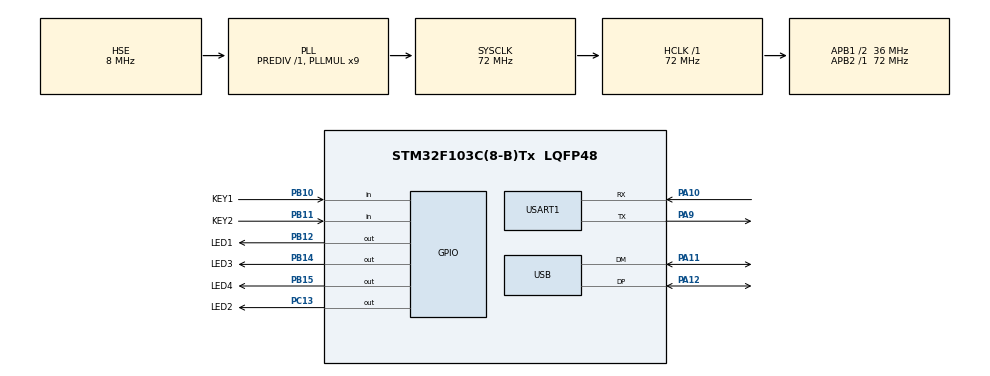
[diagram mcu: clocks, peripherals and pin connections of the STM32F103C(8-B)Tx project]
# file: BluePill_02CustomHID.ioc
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Mcu.Family=STM32F1
Mcu.Name=STM32F103C(8-B)Tx
Mcu.Package=LQFP48
NVIC.PriorityGroup=NVIC_PRIORITYGROUP_4
NVIC.USART1_IRQn=true\:0\:0\:false\:false\:true\:true
NVIC.USB_LP_CAN1_RX0_IRQn=true\:0\:0\:false\:false\:true\:false
PA10.Mode=Asynchronous
PA10.Signal=USART1_RX
PA11.Mode=Device
PA11.Signal=USB_DM
PA12.Mode=Device
PA12.Signal=USB_DP
PA13.Mode=Serial_Wire
PA13.Signal=SYS_JTMS-SWDIO
PA14.Mode=Serial_Wire
PA14.Signal=SYS_JTCK-SWCLK
PA9.Mode=Asynchronous
PA9.Signal=USART1_TX
PB10.GPIO_Label=KEY1
PB10.GPIO_PuPd=GPIO_PULLUP
PB10.Signal=GPIO_Input
PB11.GPIO_Label=KEY2
PB11.GPIO_PuPd=GPIO_PULLUP
PB11.Signal=GPIO_Input
PB12.GPIO_Label=LED1
PB12.Signal=GPIO_Output
PB14.GPIO_Label=LED3
PB14.Signal=GPIO_Output
PB15.GPIO_Label=LED4
PB15.Signal=GPIO_Output
PC13-TAMPER-RTC.GPIO_Label=LED2
PC13-TAMPER-RTC.Signal=GPIO_Output
PD0-OSC_IN.Mode=HSE-External-Oscillator
PD0-OSC_IN.Signal=RCC_OSC_IN
PD1-OSC_OUT.Mode=HSE-External-Oscillator
PD1-OSC_OUT.Signal=RCC_OSC_OUT
ProjectManager.HeapSize=0x200
ProjectManager.StackSize=0x400
ProjectManager.TargetToolchain=Makefile
RCC.AHBFreq_Value=72000000
RCC.APB1CLKDivider=RCC_HCLK_DIV2
RCC.APB1Freq_Value=36000000
RCC.APB1TimFreq_Value=72000000
RCC.APB2Freq_Value=72000000
RCC.APB2TimFreq_Value=72000000
RCC.HCLKFreq_Value=72000000
RCC.PLLMUL=RCC_PLL_MUL9
RCC.SYSCLKFreq_VALUE=72000000
RCC.SYSCLKSource=RCC_SYSCLKSOURCE_PLLCLK
RCC.USBFreq_Value=48000000
RCC.USBPrescaler=RCC_USBCLKSOURCE_PLL_DIV1_5
USART1.VirtualMode=VM_ASYNC
USB_DEVICE.CLASS_NAME_FS=CUSTOMHID
USB_DEVICE.MANUFACTURER_STRING=Ghosoft
USB_DEVICE.PRODUCT_STRING_CUSTOMHID_FS=STM32 Custom Human interface test1
USB_DEVICE.USBD_CUSTOMHID_OUTREPORT_BUF_SIZE=64
USB_DEVICE.USBD_CUSTOM_HID_REPORT_DESC_SIZE=33
USB_DEVICE.VirtualMode=CustomHid
USB_DEVICE.VirtualModeFS=Custom_Hid_FS
VP_USB_DEVICE_VS_USB_DEVICE_CUSTOM_HID_FS.Mode=CUSTOM_HID_FS
board=custom

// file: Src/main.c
/**
  ******************************************************************************
  * @file           : main.c
  * @brief          : Main program body
  ******************************************************************************
  * This notice applies to any and all portions of this file
  * that are not between comment pairs USER CODE BEGIN and
  * USER CODE END. Other portions of this file, whether
  * inserted by the user or by software development tools
  * are owned by their respective copyright owners.
  *
  * Copyright (c) 2020 STMicroelectronics International N.V.
  * All rights reserved.
  *
  * Redistribution and use in source and binary forms, with or without
  * modification, are permitted, provided that the following conditions are met:
  *
  * 1. Redistribution of source code must retain the above copyright notice,
  *    this list of conditions and the following disclaimer.
  * 2. Redistributions in binary form must reproduce the above copyright notice,
  *    this list of conditions and the following disclaimer in the documentation
  *    and/or other materials provided with the distribution.
  * 3. Neither the name of STMicroelectronics nor the names of other
  *    contributors to this software may be used to endorse or promote products
  *    derived from this software without specific written permission.
  * 4. This software, including modifications and/or derivative works of this
  *    software, must execute solely and exclusively on microcontroller or
  *    microprocessor devices manufactured by or for STMicroelectronics.
  * 5. Redistribution and use of this software other than as permitted under
  *    this license is void and will automatically terminate your rights under
  *    this license.
  *
  * THIS SOFTWARE IS PROVIDED BY STMICROELECTRONICS AND CONTRIBUTORS "AS IS"
  * AND ANY EXPRESS, IMPLIED OR STATUTORY WARRANTIES, INCLUDING, BUT NOT
  * LIMITED TO, THE IMPLIED WARRANTIES OF MERCHANTABILITY, FITNESS FOR A
  * PARTICULAR PURPOSE AND NON-INFRINGEMENT OF THIRD PARTY INTELLECTUAL PROPERTY
  * RIGHTS ARE DISCLAIMED TO THE FULLEST EXTENT PERMITTED BY LAW. IN NO EVENT
  * SHALL STMICROELECTRONICS OR CONTRIBUTORS BE LIABLE FOR ANY DIRECT, INDIRECT,
  * INCIDENTAL, SPECIAL, EXEMPLARY, OR CONSEQUENTIAL DAMAGES (INCLUDING, BUT NOT
  * LIMITED TO, PROCUREMENT OF SUBSTITUTE GOODS OR SERVICES; LOSS OF USE, DATA,
  * OR PROFITS; OR BUSINESS INTERRUPTION) HOWEVER CAUSED AND ON ANY THEORY OF
  * LIABILITY, WHETHER IN CONTRACT, STRICT LIABILITY, OR TORT (INCLUDING
  * NEGLIGENCE OR OTHERWISE) ARISING IN ANY WAY OUT OF THE USE OF THIS SOFTWARE,
  * EVEN IF ADVISED OF THE POSSIBILITY OF SUCH DAMAGE.
  *
  ******************************************************************************
  */
#include "main.h"
#include "stm32f1xx_hal.h"
#include "usb_device.h"

/* USER CODE BEGIN Includes */
#include <stdio.h>
#include <errno.h>
#include <sys/unistd.h> // STDOUT_FILENO, STDERR_FILENO
/* USER CODE END Includes */

UART_HandleTypeDef huart1;

/* USER CODE BEGIN PV */
/* Private variables ---------------------------------------------------------*/

// mod
extern USBD_HandleTypeDef hUsbDeviceFS;
uint8_t USB_RX_Buffer[64];
uint8_t USB_TX_Buffer[64];
uint8_t UART_RX_Buffer[64];
uint16_t txCounter;
/* USER CODE END PV */

void SystemClock_Config(void);
static void MX_GPIO_Init(void);
static void MX_USART1_UART_Init(void);

/* USER CODE BEGIN PFP */
/* Private function prototypes -----------------------------------------------*/

/* USER CODE END PFP */

/* USER CODE BEGIN 0 */
/*int fputc(int ch, FILE *f)
{
  HAL_UART_Transmit(&huart1, (uint8_t *)&ch, 1, 0xFFFF);
  return ch;
}*/
int _write(int file, char *ptr, int len)
{
  switch (file)
  {
  case STDOUT_FILENO: //stdout
    // Send the string somewhere
    HAL_UART_Transmit(&huart1, (uint8_t *)ptr, len, 100);
    break;
  case STDERR_FILENO: // stderr
    // Send the string somewhere
    break;
  default:
    return -1;
  }
  return len;
}

void printBuffer(uint8_t *buf, uint8_t len)
{
  for (uint8_t i = 0; i < len; i++)
  {
    printf("0x%02X ", buf[i]);
  }
  printf("\r\n");
}

extern uint8_t USBD_CUSTOM_HID_SendReport(USBD_HandleTypeDef *pdev,
                                          uint8_t *report,
                                          uint16_t len);

/* USER CODE END 0 */

int main(void)
{

  /* MCU Configuration----------------------------------------------------------*/

  /* Reset of all peripherals, Initializes the Flash interface and the Systick. */
  HAL_Init();

  /* Configure the system clock */
  SystemClock_Config();

  /* Initialize all configured peripherals */
  MX_GPIO_Init();
  MX_USB_DEVICE_Init();
  MX_USART1_UART_Init();
  /* USER CODE BEGIN 2 */
  //printf("\r\nMCU Initialized");

  /* USER CODE END 2 */

  /* Infinite loop */
  /* USER CODE BEGIN WHILE */
  printf("enter loop...\r\n");
  while (1)
  {

    /* USER CODE END WHILE */

    /* USER CODE BEGIN 3 */
    //index -1 de celui de python
    if (USB_RX_Buffer[2] == 1)
    {
      //printf("\r\n USB_RX_Buffer[2]");
      HAL_GPIO_WritePin(LED1_GPIO_Port, LED1_Pin, GPIO_PIN_RESET);
    }
    else
    {
      HAL_GPIO_WritePin(LED1_GPIO_Port, LED1_Pin, GPIO_PIN_SET);
    }

    if (USB_RX_Buffer[3] == 1)
    {
      //printf("\r\n USB_RX_Buffer[3]");
      HAL_GPIO_WritePin(LED2_GPIO_Port, LED2_Pin, GPIO_PIN_RESET);
    }
    else
    {
      HAL_GPIO_WritePin(LED2_GPIO_Port, LED2_Pin, GPIO_PIN_SET);
    }

    if (USB_RX_Buffer[4] == 1)
    {
      //printf("\r\n USB_RX_Buffer[4]");
      HAL_GPIO_WritePin(LED3_GPIO_Port, LED3_Pin, GPIO_PIN_RESET);
    }
    else
    {
      HAL_GPIO_WritePin(LED3_GPIO_Port, LED3_Pin, GPIO_PIN_SET);
    }

    if (USB_RX_Buffer[5] == 1)
    {
      //printf("\r\n USB_RX_Buffer[5]");
      HAL_GPIO_WritePin(LED4_GPIO_Port, LED4_Pin, GPIO_PIN_RESET);
    }
    else
    {
      HAL_GPIO_WritePin(LED4_GPIO_Port, LED4_Pin, GPIO_PIN_SET);
    }

    printBuffer(USB_RX_Buffer, 8);

    HAL_Delay(500);

    /*HAL_GPIO_TogglePin(LED2_GPIO_Port, LED2_Pin);
    HAL_Delay(50);
    HAL_GPIO_TogglePin(LED2_GPIO_Port, LED2_Pin);
    HAL_Delay(50);*/

    ++txCounter;
    USB_TX_Buffer[0] = txCounter >> 8;
    USB_TX_Buffer[1] = txCounter;

    if (HAL_GPIO_ReadPin(KEY1_GPIO_Port, KEY1_Pin) == GPIO_PIN_SET)
    {
      USB_TX_Buffer[2] = 0xff;
    }
    else
    {
      USB_TX_Buffer[2] = 0;
    }

    if (HAL_GPIO_ReadPin(KEY2_GPIO_Port, KEY2_Pin) == GPIO_PIN_SET)
    {
      USB_TX_Buffer[3] = 0xff;
    }
    else
    {
      USB_TX_Buffer[3] = 0;
    }

    printf("key1: 0x%02x, key2: 0x%02x\r\n", USB_TX_Buffer[2], USB_TX_Buffer[3]);

    // Send buffer to PC
    USBD_CUSTOM_HID_SendReport(&hUsbDeviceFS, USB_TX_Buffer, 64);
  }
  /* USER CODE END 3 */
}

void SystemClock_Config(void)
{

  RCC_OscInitTypeDef RCC_OscInitStruct;
  RCC_ClkInitTypeDef RCC_ClkInitStruct;
  RCC_PeriphCLKInitTypeDef PeriphClkInit;

  /**Initializes the CPU, AHB and APB busses clocks
    */
  RCC_OscInitStruct.OscillatorType = RCC_OSCILLATORTYPE_HSE;
  RCC_OscInitStruct.HSEState = RCC_HSE_ON;
  RCC_OscInitStruct.HSEPredivValue = RCC_HSE_PREDIV_DIV1;
  RCC_OscInitStruct.HSIState = RCC_HSI_ON;
  RCC_OscInitStruct.PLL.PLLState = RCC_PLL_ON;
  RCC_OscInitStruct.PLL.PLLSource = RCC_PLLSOURCE_HSE;
  RCC_OscInitStruct.PLL.PLLMUL = RCC_PLL_MUL9;
  if (HAL_RCC_OscConfig(&RCC_OscInitStruct) != HAL_OK)
  {
    _Error_Handler(__FILE__, __LINE__);
  }

  /**Initializes the CPU, AHB and APB busses clocks
    */
  RCC_ClkInitStruct.ClockType = RCC_CLOCKTYPE_HCLK | RCC_CLOCKTYPE_SYSCLK | RCC_CLOCKTYPE_PCLK1 | RCC_CLOCKTYPE_PCLK2;
  RCC_ClkInitStruct.SYSCLKSource = RCC_SYSCLKSOURCE_PLLCLK;
  RCC_ClkInitStruct.AHBCLKDivider = RCC_SYSCLK_DIV1;
  RCC_ClkInitStruct.APB1CLKDivider = RCC_HCLK_DIV2;
  RCC_ClkInitStruct.APB2CLKDivider = RCC_HCLK_DIV1;

  if (HAL_RCC_ClockConfig(&RCC_ClkInitStruct, FLASH_LATENCY_2) != HAL_OK)
  {
    _Error_Handler(__FILE__, __LINE__);
  }

  PeriphClkInit.PeriphClockSelection = RCC_PERIPHCLK_USB;
  PeriphClkInit.UsbClockSelection = RCC_USBCLKSOURCE_PLL_DIV1_5;
  if (HAL_RCCEx_PeriphCLKConfig(&PeriphClkInit) != HAL_OK)
  {
    _Error_Handler(__FILE__, __LINE__);
  }

  /**Configure the Systick interrupt time
    */
  HAL_SYSTICK_Config(HAL_RCC_GetHCLKFreq() / 1000);

  /**Configure the Systick
    */
  HAL_SYSTICK_CLKSourceConfig(SYSTICK_CLKSOURCE_HCLK);

  /* SysTick_IRQn interrupt configuration */
  HAL_NVIC_SetPriority(SysTick_IRQn, 0, 0);
}

/* USART1 init function */
static void MX_USART1_UART_Init(void)
{

  huart1.Instance = USART1;
  huart1.Init.BaudRate = 115200;
  huart1.Init.WordLength = UART_WORDLENGTH_8B;
  huart1.Init.StopBits = UART_STOPBITS_1;
  huart1.Init.Parity = UART_PARITY_NONE;
  huart1.Init.Mode = UART_MODE_TX_RX;
  huart1.Init.HwFlowCtl = UART_HWCONTROL_NONE;
  huart1.Init.OverSampling = UART_OVERSAMPLING_16;
  if (HAL_UART_Init(&huart1) != HAL_OK)
  {
    _Error_Handler(__FILE__, __LINE__);
  }
}

/** Configure pins as
        * Analog
        * Input
        * Output
        * EVENT_OUT
        * EXTI
*/
static void MX_GPIO_Init(void)
{

  GPIO_InitTypeDef GPIO_InitStruct;

  /* GPIO Ports Clock Enable */
  __HAL_RCC_GPIOC_CLK_ENABLE();
  __HAL_RCC_GPIOD_CLK_ENABLE();
  __HAL_RCC_GPIOB_CLK_ENABLE();
  __HAL_RCC_GPIOA_CLK_ENABLE();

  /*Configure GPIO pin Output Level */
  HAL_GPIO_WritePin(LED2_GPIO_Port, LED2_Pin, GPIO_PIN_RESET);

  /*Configure GPIO pin Output Level */
  HAL_GPIO_WritePin(GPIOB, LED1_Pin | LED3_Pin | LED4_Pin, GPIO_PIN_RESET);

  /*Configure GPIO pin : LED2_Pin */
  GPIO_InitStruct.Pin = LED2_Pin;
  GPIO_InitStruct.Mode = GPIO_MODE_OUTPUT_PP;
  GPIO_InitStruct.Pull = GPIO_NOPULL;
  GPIO_InitStruct.Speed = GPIO_SPEED_FREQ_LOW;
  HAL_GPIO_Init(LED2_GPIO_Port, &GPIO_InitStruct);

  /*Configure GPIO pins : KEY1_Pin KEY2_Pin */
  GPIO_InitStruct.Pin = KEY1_Pin | KEY2_Pin;
  GPIO_InitStruct.Mode = GPIO_MODE_INPUT;
  GPIO_InitStruct.Pull = GPIO_PULLUP;
  HAL_GPIO_Init(GPIOB, &GPIO_InitStruct);

  /*Configure GPIO pins : LED1_Pin LED3_Pin LED4_Pin */
  GPIO_InitStruct.Pin = LED1_Pin | LED3_Pin | LED4_Pin;
  GPIO_InitStruct.Mode = GPIO_MODE_OUTPUT_PP;
  GPIO_InitStruct.Pull = GPIO_NOPULL;
  GPIO_InitStruct.Speed = GPIO_SPEED_FREQ_LOW;
  HAL_GPIO_Init(GPIOB, &GPIO_InitStruct);
}

void _Error_Handler(char *file, int line)
{
  while (1)
  {
  }
}

/************************ (C) COPYRIGHT STMicroelectronics *****END OF FILE****/
